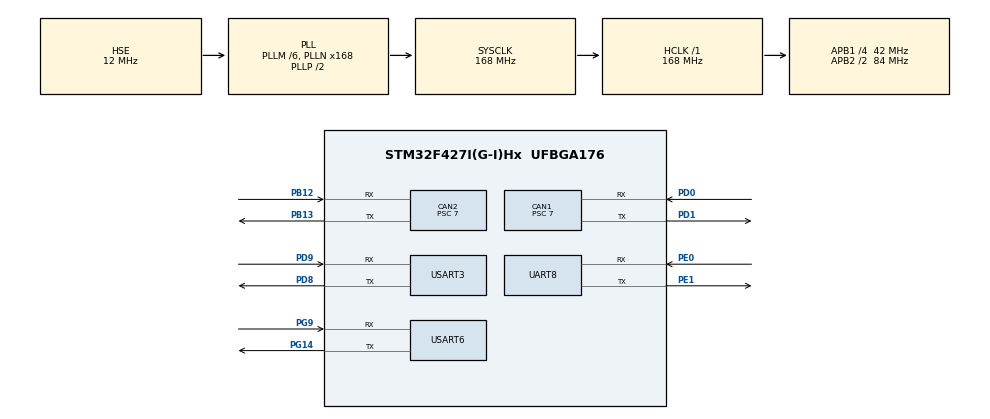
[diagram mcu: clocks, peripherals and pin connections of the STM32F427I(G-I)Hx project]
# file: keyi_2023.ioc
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CAN1.ABOM=ENABLE
CAN1.AWUM=ENABLE
CAN1.BS1=CAN_BS1_4TQ
CAN1.CalculateTimeQuantum=166.66666666666669
CAN1.NART=ENABLE
CAN1.Prescaler=7
CAN2.ABOM=ENABLE
CAN2.AWUM=ENABLE
CAN2.BS1=CAN_BS1_4TQ
CAN2.CalculateTimeQuantum=166.66666666666669
CAN2.NART=ENABLE
CAN2.Prescaler=7
Dma.Request0=USART3_RX
Dma.Request1=USART3_TX
Dma.USART3_RX.0.Direction=DMA_PERIPH_TO_MEMORY
Dma.USART3_RX.0.FIFOMode=DMA_FIFOMODE_DISABLE
Dma.USART3_RX.0.Instance=DMA1_Stream1
Dma.USART3_RX.0.MemDataAlignment=DMA_MDATAALIGN_BYTE
Dma.USART3_RX.0.MemInc=DMA_MINC_ENABLE
Dma.USART3_RX.0.Mode=DMA_CIRCULAR
Dma.USART3_RX.0.PeriphDataAlignment=DMA_PDATAALIGN_BYTE
Dma.USART3_RX.0.PeriphInc=DMA_PINC_DISABLE
Dma.USART3_RX.0.Priority=DMA_PRIORITY_LOW
Dma.USART3_TX.1.Direction=DMA_MEMORY_TO_PERIPH
Dma.USART3_TX.1.FIFOMode=DMA_FIFOMODE_DISABLE
Dma.USART3_TX.1.Instance=DMA1_Stream3
Dma.USART3_TX.1.MemDataAlignment=DMA_MDATAALIGN_BYTE
Dma.USART3_TX.1.MemInc=DMA_MINC_ENABLE
Dma.USART3_TX.1.Mode=DMA_NORMAL
Dma.USART3_TX.1.PeriphDataAlignment=DMA_PDATAALIGN_BYTE
Dma.USART3_TX.1.PeriphInc=DMA_PINC_DISABLE
Dma.USART3_TX.1.Priority=DMA_PRIORITY_LOW
FREERTOS.INCLUDE_vTaskDelayUntil=1
FREERTOS.Tasks01=defaultTask,0,128,StartDefaultTask,Default,NULL,Dynamic,NULL,NULL;Task_RobotContr,3,512,RobotControl,As external,NULL,Dynamic,NULL,NULL;Task_Init,0,128,All_Init,Default,NULL,Dynamic,NULL,NULL;CAN_SEND,0,128,Task_CAN_Send,As external,NULL,Dynamic,NULL,NULL
Mcu.Family=STM32F4
Mcu.Name=STM32F427I(G-I)Hx
Mcu.Package=UFBGA176
NVIC.CAN1_RX0_IRQn=true\:6\:0\:true\:false\:true\:false\:true\:true
NVIC.CAN2_RX0_IRQn=true\:6\:0\:true\:false\:true\:false\:true\:true
NVIC.DMA1_Stream1_IRQn=true\:5\:0\:true\:false\:true\:true\:false\:true
NVIC.DMA1_Stream3_IRQn=true\:5\:0\:true\:false\:true\:true\:false\:true
NVIC.PriorityGroup=NVIC_PRIORITYGROUP_4
NVIC.TIM1_UP_TIM10_IRQn=true\:0\:0\:false\:false\:true\:false\:false\:true
NVIC.TimeBase=TIM1_UP_TIM10_IRQn
NVIC.TimeBaseIP=TIM1
NVIC.USART3_IRQn=true\:5\:0\:true\:false\:true\:true\:true\:true
PA13.Mode=Serial_Wire
PA13.Signal=SYS_JTMS-SWDIO
PA14.Mode=Serial_Wire
PA14.Signal=SYS_JTCK-SWCLK
PB12.Mode=Slave
PB12.Signal=CAN2_RX
PB13.Mode=Slave
PB13.Signal=CAN2_TX
PD0.Mode=Master
PD0.Signal=CAN1_RX
PD1.Mode=Master
PD1.Signal=CAN1_TX
PD8.Mode=Asynchronous
PD8.Signal=USART3_TX
PD9.Mode=Asynchronous
PD9.Signal=USART3_RX
PE0.Mode=Asynchronous
PE0.Signal=UART8_RX
PE1.Mode=Asynchronous
PE1.Signal=UART8_TX
PG14.Mode=Asynchronous
PG14.Signal=USART6_TX
PG9.Mode=Asynchronous
PG9.Signal=USART6_RX
PH0/OSC_IN.Mode=HSE-External-Oscillator
PH0/OSC_IN.Signal=RCC_OSC_IN
PH1/OSC_OUT.Mode=HSE-External-Oscillator
PH1/OSC_OUT.Signal=RCC_OSC_OUT
ProjectManager.HeapSize=0x200
ProjectManager.StackSize=0x400
ProjectManager.TargetToolchain=MDK-ARM V5.27
RCC.48MHZClocksFreq_Value=84000000
RCC.AHBFreq_Value=168000000
RCC.APB1CLKDivider=RCC_HCLK_DIV4
RCC.APB1Freq_Value=42000000
RCC.APB1TimFreq_Value=84000000
RCC.APB2CLKDivider=RCC_HCLK_DIV2
RCC.APB2Freq_Value=84000000
RCC.APB2TimFreq_Value=168000000
RCC.CortexFreq_Value=168000000
RCC.HCLKFreq_Value=168000000
RCC.HSE_VALUE=12000000
RCC.HSI_VALUE=16000000
RCC.LSE_VALUE=32768
RCC.PLLM=6
RCC.PLLN=168
RCC.PLLSourceVirtual=RCC_PLLSOURCE_HSE
RCC.SYSCLKFreq_VALUE=168000000
RCC.SYSCLKSource=RCC_SYSCLKSOURCE_PLLCLK
RCC.VCOOutputFreq_Value=336000000
UART8.VirtualMode=Asynchronous
USART3.VirtualMode=VM_ASYNC
USART6.VirtualMode=VM_ASYNC
VP_FREERTOS_VS_CMSIS_V1.Mode=CMSIS_V1
VP_SYS_VS_tim1.Mode=TIM1
board=custom

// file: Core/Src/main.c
/* USER CODE BEGIN Header */
/**
  ******************************************************************************
  * @file           : main.c
  * @brief          : Main program body
  ******************************************************************************
  * @attention
  *
  * <h2><center>&copy; Copyright (c) 2022 STMicroelectronics.
  * All rights reserved.</center></h2>
  *
  * This software component is licensed by ST under Ultimate Liberty license
  * SLA0044, the "License"; You may not use this file except in compliance with
  * the License. You may obtain a copy of the License at:
  *                             www.st.com/SLA0044
  *
  ******************************************************************************
  */
/* USER CODE END Header */
#include "main.h"
#include "cmsis_os.h"
#include "can.h"
#include "dma.h"
#include "usart.h"
#include "gpio.h"

/* USER CODE BEGIN Includes */
#include "can_control.h"
#include "RM_JudgeSystem.h"
/* USER CODE END Includes */

void SystemClock_Config(void);
void MX_FREERTOS_Init(void);

int main(void)
{

  /* MCU Configuration--------------------------------------------------------*/

  /* Reset of all peripherals, Initializes the Flash interface and the Systick. */
   HAL_Init();

  /* Configure the system clock */
  SystemClock_Config();

  /* Initialize all configured peripherals */
  MX_GPIO_Init();
  MX_DMA_Init();
  MX_CAN1_Init();
  MX_CAN2_Init();
  MX_USART6_UART_Init();
  MX_USART3_UART_Init();
  MX_UART8_Init();
  /* USER CODE BEGIN 2 */
  CAN_IT_Init(&hcan1, 1);//��������ʼ��
  CAN_IT_Init(&hcan2, 2);//��������ʼ��
	JudgeSystem_USART_Receive_DMA(&huart3);
  /* USER CODE END 2 */

  /* Call init function for freertos objects (in freertos.c) */
  MX_FREERTOS_Init();
  /* Start scheduler */
  osKernelStart();

  /* We should never get here as control is now taken by the scheduler */
  /* Infinite loop */
  while (1)
  {

  }
}

void SystemClock_Config(void)
{
  RCC_OscInitTypeDef RCC_OscInitStruct = {0};
  RCC_ClkInitTypeDef RCC_ClkInitStruct = {0};

  /** Configure the main internal regulator output voltage
  */
  __HAL_RCC_PWR_CLK_ENABLE();
  __HAL_PWR_VOLTAGESCALING_CONFIG(PWR_REGULATOR_VOLTAGE_SCALE1);
  /** Initializes the RCC Oscillators according to the specified parameters
  * in the RCC_OscInitTypeDef structure.
  */
  RCC_OscInitStruct.OscillatorType = RCC_OSCILLATORTYPE_HSE;
  RCC_OscInitStruct.HSEState = RCC_HSE_ON;
  RCC_OscInitStruct.PLL.PLLState = RCC_PLL_ON;
  RCC_OscInitStruct.PLL.PLLSource = RCC_PLLSOURCE_HSE;
  RCC_OscInitStruct.PLL.PLLM = 6;
  RCC_OscInitStruct.PLL.PLLN = 168;
  RCC_OscInitStruct.PLL.PLLP = RCC_PLLP_DIV2;
  RCC_OscInitStruct.PLL.PLLQ = 4;
  if (HAL_RCC_OscConfig(&RCC_OscInitStruct) != HAL_OK)
  {
    Error_Handler();
  }
  /** Initializes the CPU, AHB and APB buses clocks
  */
  RCC_ClkInitStruct.ClockType = RCC_CLOCKTYPE_HCLK|RCC_CLOCKTYPE_SYSCLK
                              |RCC_CLOCKTYPE_PCLK1|RCC_CLOCKTYPE_PCLK2;
  RCC_ClkInitStruct.SYSCLKSource = RCC_SYSCLKSOURCE_PLLCLK;
  RCC_ClkInitStruct.AHBCLKDivider = RCC_SYSCLK_DIV1;
  RCC_ClkInitStruct.APB1CLKDivider = RCC_HCLK_DIV4;
  RCC_ClkInitStruct.APB2CLKDivider = RCC_HCLK_DIV2;

  if (HAL_RCC_ClockConfig(&RCC_ClkInitStruct, FLASH_LATENCY_5) != HAL_OK)
  {
    Error_Handler();
  }
}

void HAL_TIM_PeriodElapsedCallback(TIM_HandleTypeDef *htim)
{
  if (htim->Instance == TIM1) {
    HAL_IncTick();
  }
}

void Error_Handler(void)
{
}

/************************ (C) COPYRIGHT STMicroelectronics *****END OF FILE****/

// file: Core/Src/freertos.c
/* USER CODE BEGIN Header */
/**
  ******************************************************************************
  * File Name          : freertos.c
  * Description        : Code for freertos applications
  ******************************************************************************
  * @attention
  *
  * <h2><center>&copy; Copyright (c) 2022 STMicroelectronics.
  * All rights reserved.</center></h2>
  *
  * This software component is licensed by ST under Ultimate Liberty license
  * SLA0044, the "License"; You may not use this file except in compliance with
  * the License. You may obtain a copy of the License at:
  *                             www.st.com/SLA0044
  *
  ******************************************************************************
  */
/* USER CODE END Header */

#include "FreeRTOS.h"
#include "task.h"
#include "main.h"
#include "cmsis_os.h"

/* USER CODE BEGIN Includes */
#include "Debug_DataScope.h"
#include "can_control.h"
#include "Task_Referee.h"
#include "RM_JudgeSystem.h"
#include "Task_Referee.h"
/* USER CODE END Includes */

/* USER CODE BEGIN Variables */
osThreadId DBGHandle;
osThreadId Task_DevicesMonitorHandle;
osThreadId Task_UserDefined_UIHandle;
/* USER CODE END Variables */
osThreadId defaultTaskHandle;
osThreadId Task_RobotContrHandle;
osThreadId Task_InitHandle;
osThreadId CAN_SENDHandle;

/* USER CODE BEGIN FunctionPrototypes */
void DBG(void const * argument);

void Task_DevicesMonitor(void const * argument);
void Task_UserDefined_UI(void const  *argument);
/* USER CODE END FunctionPrototypes */

void StartDefaultTask(void const * argument);
extern void RobotControl(void const * argument);
void All_Init(void const * argument);
extern void Task_CAN_Send(void const * argument);

void MX_FREERTOS_Init(void); /* (MISRA C 2004 rule 8.1) */

/* GetIdleTaskMemory prototype (linked to static allocation support) */
void vApplicationGetIdleTaskMemory( StaticTask_t **ppxIdleTaskTCBBuffer, StackType_t **ppxIdleTaskStackBuffer, uint32_t *pulIdleTaskStackSize );

/* USER CODE BEGIN GET_IDLE_TASK_MEMORY */
static StaticTask_t xIdleTaskTCBBuffer;
static StackType_t xIdleStack[configMINIMAL_STACK_SIZE];

void vApplicationGetIdleTaskMemory( StaticTask_t **ppxIdleTaskTCBBuffer, StackType_t **ppxIdleTaskStackBuffer, uint32_t *pulIdleTaskStackSize )
{
  *ppxIdleTaskTCBBuffer = &xIdleTaskTCBBuffer;
  *ppxIdleTaskStackBuffer = &xIdleStack[0];
  *pulIdleTaskStackSize = configMINIMAL_STACK_SIZE;
  /* place for user code */
}
/* USER CODE END GET_IDLE_TASK_MEMORY */

void MX_FREERTOS_Init(void) {

  /* Create the thread(s) */
  /* definition and creation of defaultTask */
  osThreadDef(defaultTask, StartDefaultTask, osPriorityNormal, 0, 128);
  defaultTaskHandle = osThreadCreate(osThread(defaultTask), NULL);

  /* definition and creation of Task_RobotContr */
  osThreadDef(Task_RobotContr, RobotControl, osPriorityRealtime, 0, 512);
  Task_RobotContrHandle = osThreadCreate(osThread(Task_RobotContr), NULL);

  /* definition and creation of Task_Init */
  osThreadDef(Task_Init, All_Init, osPriorityNormal, 0, 128);
  Task_InitHandle = osThreadCreate(osThread(Task_Init), NULL);

  /* definition and creation of CAN_SEND */
  osThreadDef(CAN_SEND, Task_CAN_Send, osPriorityNormal, 0, 128);
  CAN_SENDHandle = osThreadCreate(osThread(CAN_SEND), NULL);

  /* USER CODE BEGIN RTOS_THREADS */
  /* add threads, ... */
	osThreadDef(Task_DBG, DBG, osPriorityNormal, 0, 128);
  DBGHandle = osThreadCreate(osThread(Task_DBG), NULL);

	osThreadDef(DevicesMonitor, Task_DevicesMonitor, osPriorityNormal, 0, 128);
  Task_DevicesMonitorHandle = osThreadCreate(osThread(DevicesMonitor), NULL);

	osThreadDef(UserDefined_UI, Task_UserDefined_UI, osPriorityNormal, 0, 256);
  Task_UserDefined_UIHandle = osThreadCreate(osThread(UserDefined_UI), NULL);
  /* USER CODE END RTOS_THREADS */

}

void StartDefaultTask(void const * argument)
{
  for(;;)
  {
    osDelay(1);
  }
}

void All_Init(void const * argument)
{
  for(;;)
  {
    osDelay(1);
  }
}

/* USER CODE BEGIN Application */
unsigned char x;          //计数变量
unsigned char Send_Count; //串口需要发送的数据个数
void DBG(void const * argument)
{
	for(;;)
  {

//			DataScope_Get_Channel_Data(chassismode,4);
//			DataScope_Get_Channel_Data(Frame_rate,5);
//			DataScope_Get_Channel_Data(RUN,6);
//			DataScope_Get_Channel_Data(cha,7);
//			Send_Count = DataScope_Data_Generate(7);
//
//			DataScope_Get_Channel_Data(Shoot_Freq,1);
//			DataScope_Get_Channel_Data(ext_shoot_data.data.bullet_speed,2);
//			DataScope_Get_Channel_Data(Cal_Speed[0],3);
//			DataScope_Get_Channel_Data(DRIVE_speed[0],4);
//		DataScope_Get_Channel_Data(RUD_Param[0].Target_angle,1);
//			DataScope_Get_Channel_Data(RUN_totalAngle[0],2);
//		DataScope_Get_Channel_Data(RUD_Param[1].Target_angle,3);
//		DataScope_Get_Channel_Data(RUN_totalAngle[1],4);
//
//		DataScope_Get_Channel_Data(RUD_Param[2].Target_angle,5);
//			DataScope_Get_Channel_Data(RUN_totalAngle[2],6);
//		DataScope_Get_Channel_Data(RUD_Param[3].Target_angle,7);
//		DataScope_Get_Channel_Data(RUN_totalAngle[3],8);
//			DataScope_Get_Channel_Data(-M3508moto_chassis[0].speed_rpm,1);
//			DataScope_Get_Channel_Data(M3508moto_chassis[1].speed_rpm,2);
//			DataScope_Get_Channel_Data(M3508moto_chassis[2].speed_rpm,3);
//			DataScope_Get_Channel_Data(-M3508moto_chassis[3].speed_rpm,4);
			DataScope_Get_Channel_Data(ext_power_heat_data.data.chassis_power,1);
		  DataScope_Get_Channel_Data(ext_power_heat_data.data.chassis_power_buffer,2);
//		  DataScope_Get_Channel_Data(ext_power_heat_data.data.chassis_power_buffer,1);
//			DataScope_Get_Channel_Data(ext_power_heat_data.data.chassis_power,1);
			Send_Count = DataScope_Data_Generate(8);
		for( x = 0 ; x < Send_Count; x++)
		{
		  while((USART6->SR&0X40)==0);
		  USART6->DR = DataScope_OutPut_Buffer[x];
		}
    osDelay(50);
  }
}
/* USER CODE END Application */

/************************ (C) COPYRIGHT STMicroelectronics *****END OF FILE****/
